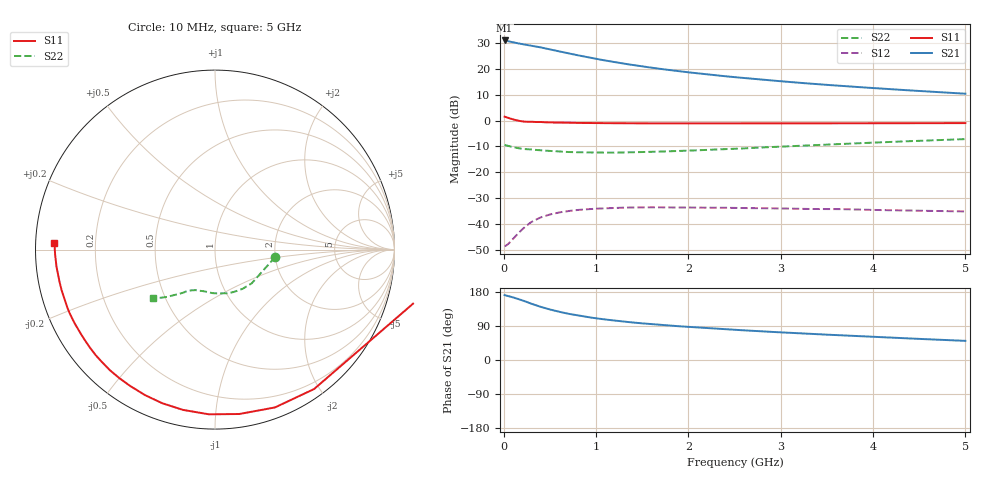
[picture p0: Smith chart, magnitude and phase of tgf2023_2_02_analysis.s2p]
# HZ S RI R 50
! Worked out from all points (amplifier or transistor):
!   500 points, 10 MHz to 5 GHz, reference 50 ohm
!   highest |S21| = 31.0 dB at 10 MHz (marker M1)
!   |S21| within 3 dB of that: start of sweep to 440.8 MHz
!   unconditionally stable (mu >= 1): 4.552 GHz to end of sweep
!   at 840 MHz: K = 0.21, MSG = 29.8 dB, |S12| = -34.5 dB
!   at 2.51 GHz: K = 0.55, MSG = 25.3 dB, |S12| = -33.8 dB
!   at 5 GHz: K = 1.09, MAG = 20.9 dB, |S12| = -35.2 dB
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1e7  1.167 -0.2466  -35.24 5.427  -0.00204 0.00309  0.3356 -0.0411
3e7  1.125 -0.2831  -34.48 6.075  -0.00154 0.00354  0.3265 -0.0513
2.9e8  0.5736 -0.7584  -24.55 14.5  0.00504 0.0093  0.2086 -0.1833
3.2e8  0.5088 -0.7972  -23.37 15.21  0.00582 0.00976  0.1937 -0.1946
4e8  0.3344 -0.8793  -20.14 16.76  0.00793 0.0107  0.152 -0.2194
5e8  0.1354 -0.916  -16.44 17.44  0.0102 0.0112  0.1094 -0.2349
6.1e8  -0.0484 -0.9152  -13.03 17.41  0.0125 0.0113  0.067 -0.2435
7.1e8  -0.1905 -0.8892  -10.44 16.96  0.0141 0.011  0.0339 -0.2439
7.9e8  -0.2832 -0.8593  -8.751 16.43  0.0152 0.0107  0.0133 -0.2441
8.5e8  -0.3421 -0.8333  -7.655 15.99  0.0158 0.0104  -0.00076 -0.2435
9.1e8  -0.3969 -0.8064  -6.629 15.52  0.0164 0.0101  -0.0141 -0.2425
1.01e9  -0.472 -0.7602  -5.254 14.68  0.0172 0.00965  -0.0326 -0.2389
1.1e9  -0.5292 -0.7194  -4.231 13.95  0.0178 0.0092  -0.0468 -0.2353
1.2e9  -0.582 -0.6756  -3.311 13.2  0.0185 0.00879  -0.0592 -0.2323
1.41e9  -0.6646 -0.5882  -1.793 11.72  0.0193 0.0078  -0.0846 -0.2299
1.68e9  -0.7325 -0.4933  -0.5532 10.12  0.0198 0.00672  -0.1078 -0.2254
2.08e9  -0.7967 -0.3819  0.5716 8.287  0.02 0.00581  -0.136 -0.2281
2.51e9  -0.8356 -0.2857  1.252 6.81  0.0197 0.00504  -0.1633 -0.2337
2.9e9  -0.8574 -0.2155  1.631 5.768  0.0194 0.00486  -0.1887 -0.2436
3.34e9  -0.8725 -0.1497  1.874 4.819  0.0188 0.00486  -0.2197 -0.2512
4.17e9  -0.8889 -0.0473  2.084 3.508  0.0177 0.00511  -0.2795 -0.2653
5e9  -0.8943 0.0362  2.112 2.564  0.0163 0.00612  -0.345 -0.2711
